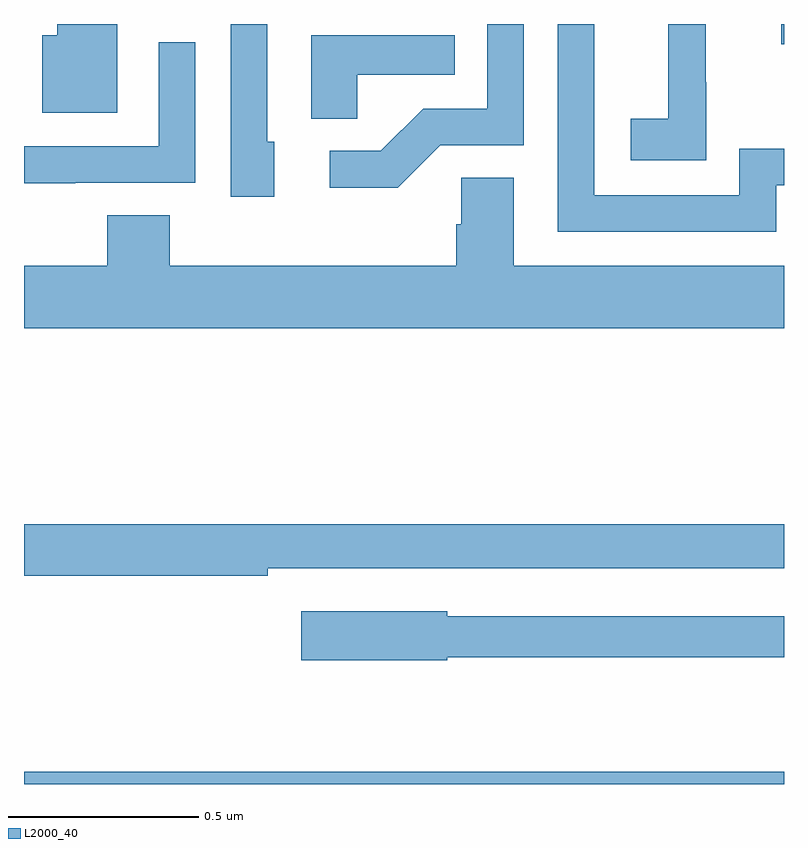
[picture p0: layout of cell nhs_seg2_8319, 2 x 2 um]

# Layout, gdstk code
import gdstk
lib = gdstk.Library(unit=1e-6, precision=1e-09)
def R(c, l, rs):  # rectangles x0, y0, x1, y1
    for r in rs: c.add(gdstk.rectangle(r[:2], r[2:], *l))
def P(c, l, *ps):  # polygons
    for p in ps: c.add(gdstk.Polygon(p, *l))
L2000_40 = (2000, 40)

nhs_seg2_8319 = lib.new_cell('nhs_seg2_8319')
R(nhs_seg2_8319, L2000_40, [(215,615.8,217,615.832), (216.993,617.747,217,617.8)])
P(nhs_seg2_8319, L2000_40, [(216.096,617.481),(216.315,617.481),(216.315,617.8),(216.219,617.8),(216.219,617.577),(216.05,617.577),(215.939,617.466),(215.805,617.466),(215.805,617.369),(215.983,617.369)],
  [(216.795,617.647),(216.794,617.647),(216.794,617.8),(216.696,617.8),(216.696,617.78),(216.695,617.78),(216.695,617.551),(216.597,617.551),(216.597,617.441),(216.795,617.441)],
  [(215.659,617.49),(215.64,617.49),(215.64,617.8),(215.544,617.8),(215.544,617.346),(215.659,617.346)],
  [(216.979,617.376),(217,617.376),(217,617.472),(216.882,617.472),(216.882,617.349),(216.501,617.349),(216.501,617.8),(216.405,617.8),(216.405,617.253),(216.979,617.253)],
  [(215.245,617.8),(215.087,617.8),(215.087,617.77),(215.048,617.77),(215.048,617.567),(215.245,617.567)],
  [(215.877,617.666),(216.134,617.666),(216.134,617.77),(215.756,617.77),(215.756,617.551),(215.877,617.551)],
  [(215.135,617.382),(215.451,617.382),(215.451,617.752),(215.355,617.752),(215.355,617.478),(215,617.478),(215,617.381),(215.135,617.381)],
  [(217,617.164),(216.289,617.164),(216.289,617.396),(216.15,617.396),(216.15,617.273),(216.137,617.273),(216.137,617.164),(215.384,617.164),(215.384,617.297),(215.219,617.297),(215.219,617.164),(215,617.164),(215,617),(217,617)],
  [(215.642,616.368),(217,616.368),(217,616.484),(215,616.484),(215,616.348),(215.642,616.348)],
  [(216.114,616.134),(217,616.134),(217,616.242),(216.114,616.242),(216.114,616.255),(215.73,616.255),(215.73,616.126),(216.114,616.126)])

lib.write_gds('nhs_seg2_8319.gds')
